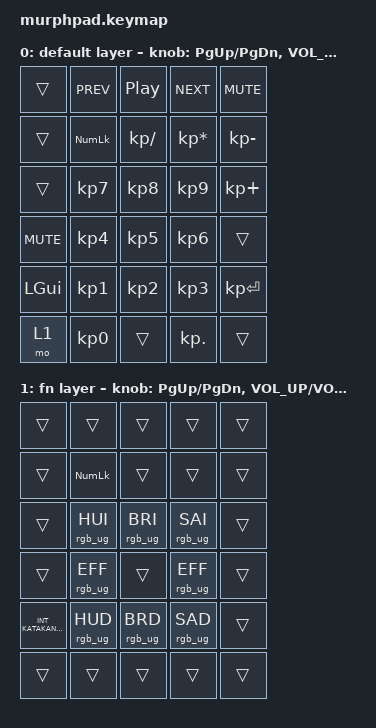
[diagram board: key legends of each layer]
/*
 * Copyright (c) 2021 The ZMK Contributors
 *
 * SPDX-License-Identifier: MIT
 */

#include <behaviors.dtsi>
#include <dt-bindings/zmk/keys.h>
#include <dt-bindings/zmk/bt.h>
#include <dt-bindings/zmk/rgb.h>

#define TIMEOUT 300


&encoder_1 {
	status = "okay";
};

&encoder_2 {
	status = "okay";
};

/ {
	/* sensors {
		compatible = "zmk,keymap-sensors";
		sensors = < &encoder_1 &encoder_2 >;
	};  */


	keymap {
		compatible = "zmk,keymap";

		default_layer {
		label = "default layer";
            bindings = <
                &trans              &kp C_PREV      &kp C_PLAY_PAUSE   &kp C_NEXT           &kp C_MUTE   
                &trans              &kp KP_NUMLOCK  &kp KP_DIVIDE      &kp KP_MULTIPLY      &kp KP_MINUS    
                &trans		    &kp KP_N7       &kp KP_N8          &kp KP_N9            &kp KP_PLUS   
                &kp C_MUTE          &kp KP_N4       &kp KP_N5          &kp KP_N6            &trans
                &kp LEFT_GUI   &kp KP_N1       &kp KP_N2          &kp KP_N3            &kp KP_ENTER
                &mo 1               &kp KP_N0       &trans             &kp KP_DOT           &trans
            >;
               sensor-bindings = <&inc_dec_kp PG_UP PG_DN &inc_dec_kp C_VOL_UP C_VOL_DN>;

        }; 


        fn_layer {
		label = "fn layer";
            bindings = <
                &trans           &trans              &trans            &trans              &trans  
               	&trans           &kp KP_NUM          &trans            &trans              &trans     
                &trans           &rgb_ug RGB_HUI     &rgb_ug RGB_BRI   &rgb_ug RGB_SAI	   &trans
                &trans           &rgb_ug RGB_EFF     &trans            &rgb_ug RGB_EFF     &trans    
                &kp INT_KATAKANAHIRAGANA       &rgb_ug RGB_HUD     &rgb_ug RGB_BRD   &rgb_ug RGB_SAD     &trans
                &trans    	 &trans              &trans            &trans              &trans           
            >;  
			sensor-bindings = <&inc_dec_kp PG_UP PG_DN &inc_dec_kp C_VOL_UP C_VOL_DN>;

        };
    };
}; 
